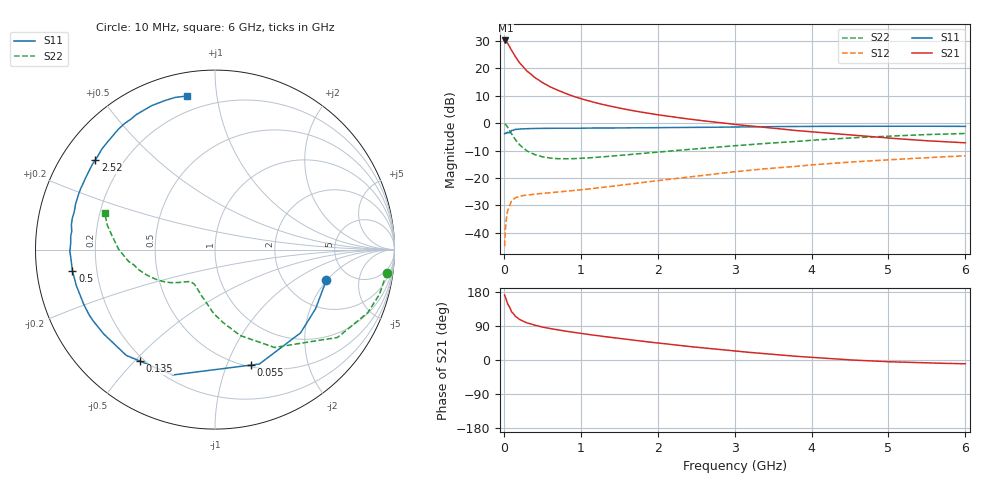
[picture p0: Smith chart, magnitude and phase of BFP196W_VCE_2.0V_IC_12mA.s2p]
! Infineon Technologies  Discrete & RF Semiconductors
! BFP196W
! VCE = 2.0 V,  IC =  12mA
! Common Emitter S-Parameters:  Jan 2016
# GHz  S  MA  R  50
!  f  S11  S21  S12  S22
! GHz  MAG  ANG  MAG  ANG  MAG  ANG  MAG  ANG
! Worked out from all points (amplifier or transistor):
!   210 points, 10 MHz to 6 GHz, reference 50 ohm
!   highest |S21| = 30.1 dB at 20 MHz (marker M1)
!   |S21| within 3 dB of that: start of sweep to 87.86 MHz
!   unconditionally stable (mu >= 1): 1.099 GHz to 3.301 GHz
!   at 185 MHz: K = 0.24, MSG = 24.8 dB, |S12| = -26.9 dB
!   at 1.52 GHz: K = 1.14, MAG = 11.7 dB, |S12| = -22.7 dB
!   at 6 GHz: K = 0.95, MSG = 2.4 dB, |S12| = -11.9 dB
!   S11 on the Smith chart (normalised r, x): 10 MHz: 3.39, -1.96; 55 MHz: 0.52, -1.22; 135 MHz: 0.18, -0.52; 500 MHz: 0.11, -0.07; 2.52 GHz: 0.10, +0.33; 6 GHz: 0.12, +0.83
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0.01  0.6433 -15.3  32.06 171.5  0.0057 82.2  0.9663 -7.7
0.02  0.6501 -30.4  32.08 166.2  0.0114 78.6  0.9493 -15.3
0.03  0.6652 -44.2  31.18 159.8  0.0167 71.5  0.921 -22.4
0.05  0.6837 -68.8  28.45 147.8  0.0254 61.0  0.8403 -35.6
0.055  0.6736 -72.8  27.61 146.3  0.0265 58.5  0.8154 -37.4
0.1  0.7364 -108.5  21.27 127.5  0.0378 43.1  0.6383 -58.7
0.135  0.7485 -123.8  17.66 119.5  0.0418 36.8  0.5363 -68.4
0.15  0.7693 -130.0  16.25 115.1  0.0436 34.4  0.4987 -73.7
0.2  0.7779 -142.8  12.79 107.5  0.046 29.7  0.4078 -83.8
0.26  0.7898 -152.3  10.22 101.4  0.0479 27.0  0.3452 -92.5
0.3  0.7923 -157.1  8.882 98.0  0.0487 26.0  0.3105 -97.3
0.4  0.7983 -165.5  6.796 91.7  0.0506 25.2  0.2672 -106.4
0.5  0.803 -171.4  5.491 86.9  0.052 26.2  0.2431 -112.9
0.7  0.8089 -179.3  3.972 79.5  0.0551 29.1  0.2243 -121.0
1.02  0.806 172.2  2.734 69.8  0.061 34.6  0.2284 -128.5
1.4  0.8136 163.7  2.01 59.3  0.0706 40.4  0.2497 -133.7
2.02  0.8237 151.8  1.406 44.5  0.0898 46.6  0.297 -141.6
2.52  0.8331 143.2  1.132 33.4  0.1089 48.3  0.3411 -148.8
3.1  0.8496 133.5  0.916 22.0  0.1337 47.5  0.3954 -158.0
4.1  0.8709 118.9  0.678 5.7  0.1771 42.6  0.4955 -174.0
5.1  0.8757 107.9  0.521 -5.2  0.2179 35.3  0.5849 171.4
6  0.8699 100.4  0.437 -10.0  0.2535 28.8  0.6459 161.8
